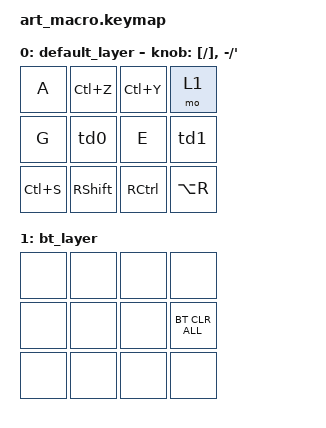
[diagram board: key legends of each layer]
#include <behaviors.dtsi>
#include <dt-bindings/zmk/keys.h>
#include <dt-bindings/zmk/bt.h>
#include <dt-bindings/zmk/outputs.h>

/ {
    behaviors {
        td0: tap_dance_0 {
            compatible = "zmk,behavior-tap-dance";
            #binding-cells = <0>;
            tapping-term-ms = <200>;
            bindings = <&kp L>, <&kp W>;
        };
        td1: tap_dance_1 {
            compatible = "zmk,behavior-tap-dance";
            #binding-cells = <0>;
            tapping-term-ms = <200>;
            bindings = <&kp LC(C)>, <&kp LC(V)>;
        };
    };

    keymap {
        compatible = "zmk,keymap";

        default_layer {
            // ----------------------------------------------------------------------
            // | A(dropper) |     ctrlZ (undo)     | ctrlY(redo) |       null       | 
            // |   G(fill)  | L,W (lasso, DT wand) |  E(eraser)  | (copy, DT paste) |  
            // |     BT     |         SHIFT        |    CTRL     |       null       | 
            bindings = <
                &kp A        &kp LC(Z)     &kp LC(Y)    &mo 1   
                &kp G        &td0          &kp E        &td1  
                &kp LC(S)    &kp RSHIFT    &kp RCTRL    &kp LA(R)
            >;

            sensor-bindings = <&inc_dec_kp LBKT RBKT 
                               &inc_dec_kp MINUS SQT
            >;
        };
        bt_layer {
            // ----------------------------------------------------------------------
            // |    t    |    e    |    s    |    t    | 
            // |   none  |  none   |  none   |BT Clear |  
            // |  move   |  none   |  none   |  none   | 
            bindings = <
                &none    &none    &none    &none  
                &none    &none    &none    &bt BT_CLR_ALL  
                &none     &none    &none    &none
            >;
        };
    };
};
